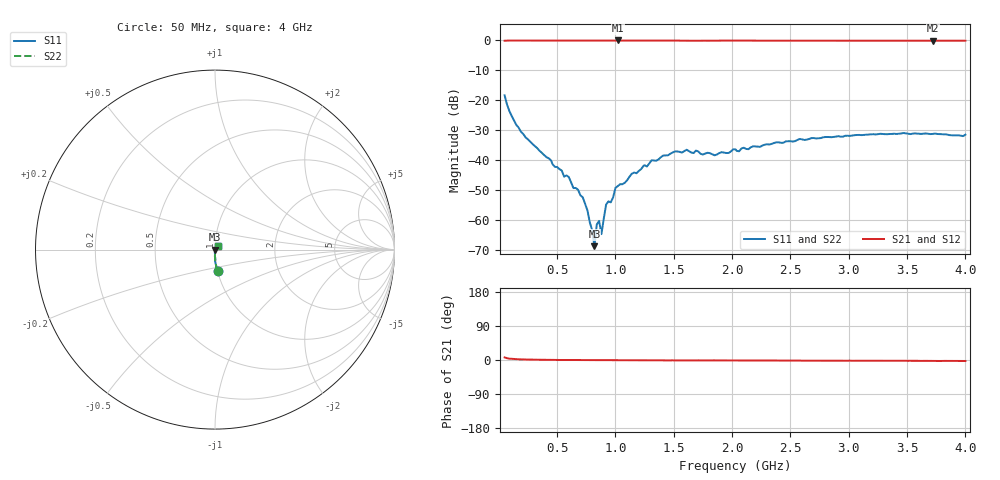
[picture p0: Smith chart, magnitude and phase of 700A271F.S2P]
!  American Technical Ceramics  Date:  3/13/98
!  One Norden Lane
!  Huntington Station,  NY.  11746-2102
!  Tel:  (516) 547-5700  Fax:  (516) 547-5748
!  Part Number  700A271F
!  Description: Porcelain, High Q, Low ESR
!  Application: Bypass, Coupling, Timing, Feedback
!  Tuning, Impedance Match, Blocking
# GHZ S DB R 50
! Freq  |S11|  S11 Ph  |S21|  S21 Ph  |S12|  S12 Ph  |S22|  S22 Ph
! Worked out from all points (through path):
!   201 points, 50 MHz to 4 GHz, reference 50 ohm
!   highest |S21| = 0.00 dB at 1.02 GHz (marker M1); lowest = -0.1 dB at 3.72 GHz (marker M2)
!   lowest |S11| = -68.9 dB at 820 MHz (marker M3), VSWR 1.00, Z = 50 - j0.022 ohm
!   |S11| at or under -10 dB: start of sweep to end of sweep
!   |S22| runs from -68.9 to -18.4 dB; largest |S21 - S12| = 0
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0.05  -18.36 -83.3  -0.10 6.8  -0.10 6.8  -18.36 -83.3
0.09  -23.57 -89.5  -0.03 3.6  -0.03 3.6  -23.57 -89.5
0.19  -30.53 -89.4  -0.02 1.8  -0.02 1.8  -30.53 -89.4
0.6  -45.71 -104.0  -0.01 0.0  -0.01 0.0  -45.71 -104.0
0.64  -49.43 -99.9  -0.01 0.0  -0.01 0.0  -49.43 -99.9
0.72  -52.50 -100.5  -0.01 -0.2  -0.01 -0.2  -52.50 -100.5
0.76  -56.88 -97.6  -0.01 -0.2  -0.01 -0.2  -56.88 -97.6
0.82  -68.88 -142.3  -0.02 -0.3  -0.02 -0.3  -68.88 -142.3
0.84  -61.60 120.1  0.00 -0.4  0.00 -0.4  -61.60 120.1
0.86  -60.43 75.0  -0.02 -0.3  -0.02 -0.3  -60.43 75.0
0.88  -64.86 56.5  -0.02 -0.4  -0.02 -0.4  -64.86 56.5
0.92  -54.95 82.9  -0.02 -0.4  -0.02 -0.4  -54.95 82.9
0.96  -54.21 88.6  -0.02 -0.4  -0.02 -0.4  -54.21 88.6
1.02  -48.78 81.3  0.00 -0.6  0.00 -0.6  -48.78 81.3
1.37  -39.80 70.0  -0.04 -1.0  -0.04 -1.0  -39.80 70.0
1.61  -36.60 49.4  -0.08 -1.1  -0.08 -1.1  -36.60 49.4
1.85  -38.46 49.5  -0.06 -1.0  -0.06 -1.0  -38.46 49.5
2.03  -36.50 54.6  -0.05 -1.2  -0.05 -1.2  -36.50 54.6
2.7  -32.67 59.5  -0.07 -1.7  -0.07 -1.7  -32.67 59.5
3.35  -31.32 58.0  -0.09 -2.1  -0.09 -2.1  -31.32 58.0
3.72  -31.30 53.5  -0.11 -2.3  -0.11 -2.3  -31.30 53.5
4  -31.55 53.4  -0.09 -2.6  -0.09 -2.6  -31.55 53.4
